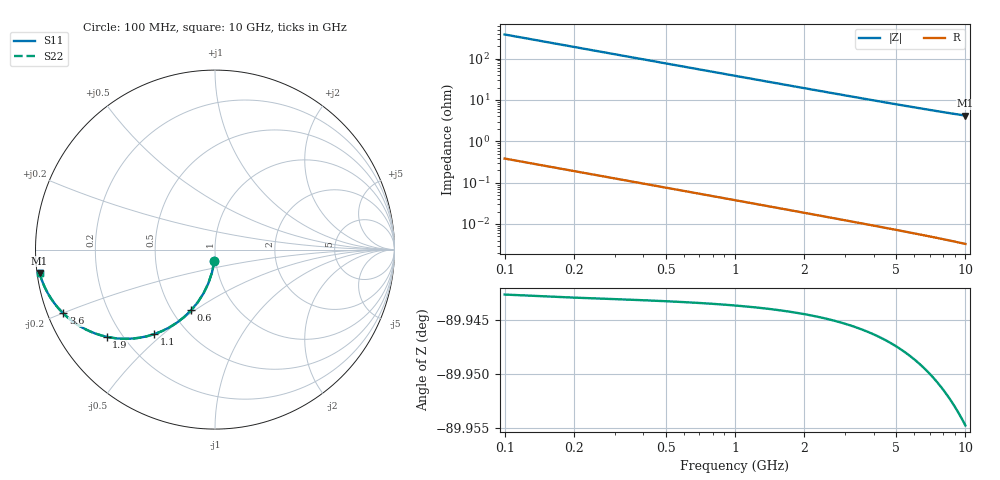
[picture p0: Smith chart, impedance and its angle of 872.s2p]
# Hz S RI R 50.00
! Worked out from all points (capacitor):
!   100 points, 100 MHz to 10 GHz, reference 50 ohm
!   read as one part in shunt: C = 4.15 pF near 100 MHz
!   lowest |Z| = 4.19 ohm at 10 GHz (marker M1)
!   S11 on the Smith chart (normalised r, x): 100 MHz: 0.98, -0.13; 600 MHz: 0.62, -0.48; 1.1 GHz: 0.33, -0.47; 1.9 GHz: 0.14, -0.35; 3.6 GHz: 0.05, -0.20; 10 GHz: 0.01, -0.07
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1e8  -0.00428 -0.0648  0.9957 -0.0651  0.9957 -0.0651  -0.00428 -0.0648
2e8  -0.0168 -0.1279  0.9831 -0.1286  0.9831 -0.1286  -0.0168 -0.1279
3e8  -0.037 -0.1879  0.9629 -0.1889  0.9629 -0.1889  -0.037 -0.1879
4e8  -0.0639 -0.2435  0.936 -0.2448  0.936 -0.2448  -0.0639 -0.2435
5e8  -0.0963 -0.2938  0.9036 -0.2953  0.9036 -0.2953  -0.0963 -0.2938
6e8  -0.133 -0.3381  0.867 -0.34  0.867 -0.34  -0.133 -0.3381
8e8  -0.214 -0.4084  0.7859 -0.4109  0.7859 -0.4109  -0.214 -0.4084
9e8  -0.2562 -0.4346  0.7438 -0.4374  0.7438 -0.4374  -0.2562 -0.4346
1.1e9  -0.3395 -0.4713  0.6605 -0.4748  0.6605 -0.4748  -0.3395 -0.4713
1.4e9  -0.454 -0.4952  0.546 -0.4996  0.546 -0.4996  -0.454 -0.4952
1.8e9  -0.5784 -0.4905  0.4215 -0.4961  0.4215 -0.4961  -0.5784 -0.4905
1.9e9  -0.6045 -0.4855  0.3955 -0.4914  0.3955 -0.4914  -0.6045 -0.4855
2.2e9  -0.6718 -0.4656  0.3281 -0.4725  0.3281 -0.4725  -0.6718 -0.4656
2.6e9  -0.7406 -0.4337  0.2593 -0.4418  0.2593 -0.4418  -0.7406 -0.4337
3e9  -0.7916 -0.4009  0.2083 -0.4104  0.2083 -0.4104  -0.7916 -0.4009
3.4e9  -0.8298 -0.3698  0.1701 -0.3806  0.1701 -0.3806  -0.8298 -0.3698
3.6e9  -0.8453 -0.3553  0.1545 -0.3667  0.1545 -0.3667  -0.8453 -0.3553
4.3e9  -0.8863 -0.3099  0.1135 -0.3237  0.1135 -0.3237  -0.8863 -0.3099
5.1e9  -0.9165 -0.2677  0.0833 -0.2842  0.0833 -0.2842  -0.9165 -0.2677
6.7e9  -0.9501 -0.206  0.0496 -0.2279  0.0496 -0.2279  -0.9501 -0.206
8.4e9  -0.9679 -0.1611  0.0316 -0.1891  0.0316 -0.1891  -0.9679 -0.1611
1e10  -0.9773 -0.1303  0.022 -0.1642  0.022 -0.1642  -0.9773 -0.1303
